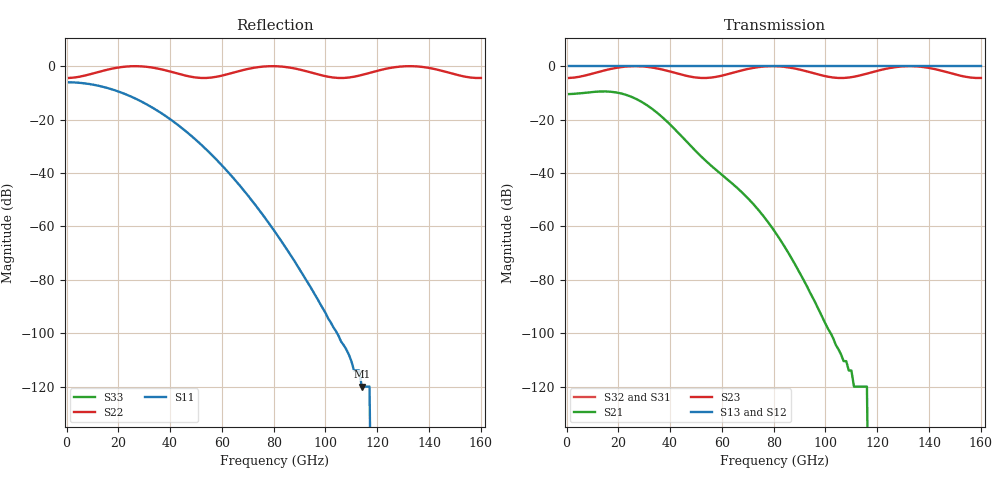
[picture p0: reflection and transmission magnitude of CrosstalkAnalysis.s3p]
! File created by SignalIntegrity v1.5.1: Signal and Power Integrity Tools
! https://github.com/Nubis-Communications/SignalIntegrity
# MHz S MA R 50.0
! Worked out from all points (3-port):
!   160 points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, 1 GHz to 160 GHz, reference 50 ohm
!   strongest paths, dB at 1 GHz, 41 GHz, 81 GHz, 121 GHz, 160 GHz:
!     S13: 0.0, 0.0, 0.0, 0.0, 0.0
!     S12: 0.0, 0.0, 0.0, 0.0, 0.0
!     S23: -4.4, -2.3, 0.0, -1.5, -4.4
!     S21: -10.4, -22.8, -62.8, -, -
!     S32: -, -, -, -, -
!     S31: -, -, -, -, -
!   lowest |S11| = -120.0 dB at 114 GHz (marker M1), VSWR 1.00, Z = 50 + j0 ohm
!   |S11| at or under -10 dB: 21.45 GHz to end of sweep
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1000  0.4995 0.0  1 0.0  1 0.0
      0.3004 0.0  0.6014 0.0  0.6014 0.0
      0 0.0  0 0.0  0 0.0
19000  0.3491 0.0  1 0.0  1 0.0
       0.3233 0.0  0.926 0.0  0.926 0.0
       0 0.0  0 0.0  0 0.0
31000  0.1921 -0.0  1 0.0  1 0.0
       0.1868 -0.0  0.9722 0.0  0.9722 0.0
       0 0.0  0 0.0  0 0.0
53000  0.03054 0.0  1 0.0  1 0.0
       0.01832 0.0  0.6 0.0  0.6 0.0
       0 0.0  0 0.0  0 0.0
81000  0.00073 0.0  1 0.0  1 0.0
       0.000727 0.0  0.9968 0.0  0.9968 0.0
       0 0.0  0 0.0  0 0.0
92000  0.00011 -0.0  1 0.0  1 0.0
       9e-05 -0.0  0.8177 0.0  0.8177 0.0
       0 0.0  0 0.0  0 0.0
104000  1.1e-05 0.0  1 0.0  1 0.0
        6e-06 0.0  0.6056 0.0  0.6056 0.0
        0 0.0  0 0.0  0 0.0
114000  1e-06 -0.0  1 0.0  1 0.0
        1e-06 -0.0  0.6834 0.0  0.6834 0.0
        0 0.0  0 0.0  0 0.0
133000  0 -0.0  1 0.0  1 0.0
        0 -0.0  0.9996 0.0  0.9996 0.0
        0 0.0  0 0.0  0 0.0
160000  0 0.0  1 0.0  1 0.0
        0 0.0  0.6014 0.0  0.6014 0.0
        0 0.0  0 0.0  0 0.0
